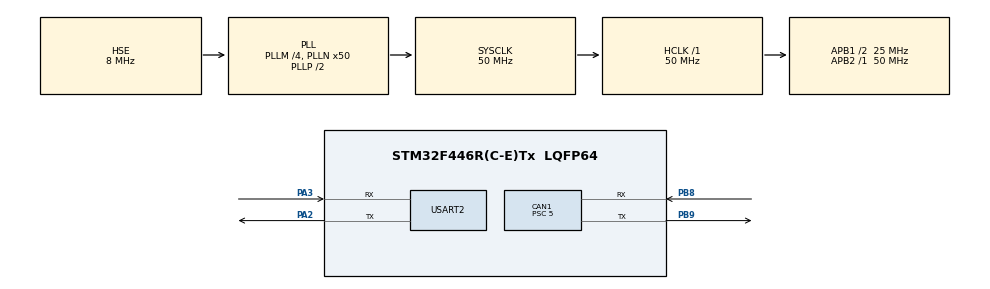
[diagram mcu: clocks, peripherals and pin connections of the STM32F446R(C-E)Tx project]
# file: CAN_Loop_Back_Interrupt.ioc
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CAN1.ABOM=ENABLE
CAN1.BS1=CAN_BS1_8TQ
CAN1.CalculateBaudRate=500000
CAN1.CalculateTimeBit=2000
CAN1.CalculateTimeQuantum=200.0
CAN1.Mode=CAN_MODE_LOOPBACK
CAN1.NART=ENABLE
CAN1.Prescaler=5
Mcu.Family=STM32F4
Mcu.Name=STM32F446R(C-E)Tx
Mcu.Package=LQFP64
NVIC.CAN1_RX0_IRQn=true\:0\:0\:false\:false\:true\:true\:true\:true
NVIC.CAN1_RX1_IRQn=true\:0\:0\:false\:false\:true\:true\:true\:true
NVIC.CAN1_SCE_IRQn=true\:0\:0\:false\:false\:true\:true\:true\:true
NVIC.CAN1_TX_IRQn=true\:0\:0\:false\:false\:true\:true\:true\:true
NVIC.PriorityGroup=NVIC_PRIORITYGROUP_0
PA2.Mode=Asynchronous
PA2.Signal=USART2_TX
PA3.Mode=Asynchronous
PA3.Signal=USART2_RX
PB8.Mode=CAN_Activate
PB8.Signal=CAN1_RX
PB9.Mode=CAN_Activate
PB9.Signal=CAN1_TX
ProjectManager.HeapSize=0x200
ProjectManager.StackSize=0x400
ProjectManager.TargetToolchain=STM32CubeIDE
RCC.AHBFreq_Value=50000000
RCC.APB1CLKDivider=RCC_HCLK_DIV2
RCC.APB1Freq_Value=25000000
RCC.APB1TimFreq_Value=50000000
RCC.APB2Freq_Value=50000000
RCC.APB2TimFreq_Value=50000000
RCC.CortexFreq_Value=50000000
RCC.FLatency-AdvancedSettings=FLASH_LATENCY_1
RCC.HCLKFreq_Value=50000000
RCC.HSE_VALUE=8000000
RCC.HSI_VALUE=16000000
RCC.LSE_VALUE=32768
RCC.PLLM=8
RCC.PLLN=50
RCC.SYSCLKFreq_VALUE=50000000
RCC.SYSCLKSource=RCC_SYSCLKSOURCE_PLLCLK
RCC.USBFreq_Value=50000000
RCC.VCOOutputFreq_Value=100000000
USART2.VirtualMode=VM_ASYNC
board=NUCLEO-F446RE

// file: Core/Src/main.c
/* USER CODE BEGIN Header */
/**
  ******************************************************************************
  * @file           : main.c
  * @brief          : Main program body
  ******************************************************************************
  * @attention
  *
  * Copyright (c) 2024 STMicroelectronics.
  * All rights reserved.
  *
  * This software is licensed under terms that can be found in the LICENSE file
  * in the root directory of this software component.
  * If no LICENSE file comes with this software, it is provided AS-IS.
  *
  ******************************************************************************
  */
/* USER CODE END Header */
#include "main.h"
#include <string.h>
#include <stdio.h>

CAN_HandleTypeDef hcan1;
UART_HandleTypeDef huart2;

void SystemClock_Config(void);
static void MX_GPIO_Init(void);
static void MX_CAN1_Init(void);
static void MX_USART2_UART_Init(void);
void CAN1_TX(void);
void CAN1_RX(void);
void CAN_Filter_Config(void);
/* USER CODE BEGIN PFP */
void HAL_CAN_TxMailbox0CompleteCallback(CAN_HandleTypeDef *hcan);
void HAL_CAN_TxMailbox1CompleteCallback(CAN_HandleTypeDef *hcan);
void HAL_CAN_TxMailbox2CompleteCallback(CAN_HandleTypeDef *hcan);
void HAL_CAN_RxFifo0MsgPendingCallback(CAN_HandleTypeDef *hcan);
void HAL_CAN_ErrorCallback(CAN_HandleTypeDef *hcan);

/* USER CODE END PFP */

int main(void)
{

  /* MCU Configuration--------------------------------------------------------*/

  /* Reset of all peripherals, Initializes the Flash interface and the Systick. */
  HAL_Init();

  /* Configure the system clock */
  SystemClock_Config();

  /* Initialize all configured peripherals */
  MX_GPIO_Init();
  MX_CAN1_Init();
  MX_USART2_UART_Init();
  /* USER CODE BEGIN 2 */
  CAN_Filter_Config();

  //Enable control bit to receive interrupts on the specified events
  if (HAL_CAN_ActivateNotification(&hcan1, CAN_IT_BUSOFF | CAN_IT_RX_FIFO0_MSG_PENDING | CAN_IT_TX_MAILBOX_EMPTY) != HAL_OK) {
	  Error_Handler();
  }

  if (HAL_CAN_Start(&hcan1) != HAL_OK) {
	  Error_Handler();
  }

  CAN1_TX();

  /* USER CODE END 2 */

  /* Infinite loop */
  while (1)
  {

  }
}

void SystemClock_Config(void)
{
  RCC_OscInitTypeDef RCC_OscInitStruct = {0};
  RCC_ClkInitTypeDef RCC_ClkInitStruct = {0};

  /** Configure the main internal regulator output voltage
  */
  __HAL_RCC_PWR_CLK_ENABLE();
  __HAL_PWR_VOLTAGESCALING_CONFIG(PWR_REGULATOR_VOLTAGE_SCALE3);

  /** Initializes the RCC Oscillators according to the specified parameters
  * in the RCC_OscInitTypeDef structure.
  */
  RCC_OscInitStruct.OscillatorType = RCC_OSCILLATORTYPE_HSE;
  RCC_OscInitStruct.HSEState = RCC_HSE_ON;
  RCC_OscInitStruct.PLL.PLLState = RCC_PLL_ON;
  RCC_OscInitStruct.PLL.PLLSource = RCC_PLLSOURCE_HSE;
  RCC_OscInitStruct.PLL.PLLM = 4;
  RCC_OscInitStruct.PLL.PLLN = 50;
  RCC_OscInitStruct.PLL.PLLP = RCC_PLLP_DIV2;
  RCC_OscInitStruct.PLL.PLLQ = 2;
  RCC_OscInitStruct.PLL.PLLR = 2;
  if (HAL_RCC_OscConfig(&RCC_OscInitStruct) != HAL_OK)
  {
    Error_Handler();
  }

  /** Initializes the CPU, AHB and APB buses clocks
  */
  RCC_ClkInitStruct.ClockType = RCC_CLOCKTYPE_HCLK|RCC_CLOCKTYPE_SYSCLK
                              |RCC_CLOCKTYPE_PCLK1|RCC_CLOCKTYPE_PCLK2;
  RCC_ClkInitStruct.SYSCLKSource = RCC_SYSCLKSOURCE_PLLCLK;
  RCC_ClkInitStruct.AHBCLKDivider = RCC_SYSCLK_DIV1;
  RCC_ClkInitStruct.APB1CLKDivider = RCC_HCLK_DIV2;
  RCC_ClkInitStruct.APB2CLKDivider = RCC_HCLK_DIV1;

  if (HAL_RCC_ClockConfig(&RCC_ClkInitStruct, FLASH_LATENCY_1) != HAL_OK)
  {
    Error_Handler();
  }
}

static void MX_CAN1_Init(void)
{

  hcan1.Instance = CAN1;
  hcan1.Init.Prescaler = 5;
  hcan1.Init.Mode = CAN_MODE_LOOPBACK;
  hcan1.Init.SyncJumpWidth = CAN_SJW_1TQ;
  hcan1.Init.TimeSeg1 = CAN_BS1_8TQ;
  hcan1.Init.TimeSeg2 = CAN_BS2_1TQ;
  hcan1.Init.TimeTriggeredMode = DISABLE;
  hcan1.Init.AutoBusOff = ENABLE;
  hcan1.Init.AutoWakeUp = DISABLE;
  hcan1.Init.AutoRetransmission = ENABLE;
  hcan1.Init.ReceiveFifoLocked = DISABLE;
  hcan1.Init.TransmitFifoPriority = DISABLE;
  if (HAL_CAN_Init(&hcan1) != HAL_OK)
  {
    Error_Handler();
  }

}

static void MX_USART2_UART_Init(void)
{

  huart2.Instance = USART2;
  huart2.Init.BaudRate = 115200;
  huart2.Init.WordLength = UART_WORDLENGTH_8B;
  huart2.Init.StopBits = UART_STOPBITS_1;
  huart2.Init.Parity = UART_PARITY_NONE;
  huart2.Init.Mode = UART_MODE_TX_RX;
  huart2.Init.HwFlowCtl = UART_HWCONTROL_NONE;
  huart2.Init.OverSampling = UART_OVERSAMPLING_16;
  if (HAL_UART_Init(&huart2) != HAL_OK)
  {
    Error_Handler();
  }

}

static void MX_GPIO_Init(void)
{

  /* GPIO Ports Clock Enable */
  __HAL_RCC_GPIOA_CLK_ENABLE();
  __HAL_RCC_GPIOB_CLK_ENABLE();

}

/**
  * @brief this function is used to put the message in a mailbox to be transmitted
  * @param None
  * @retval None
  */
void CAN1_TX(void) {
	//The header of the message to be transmitted.
	CAN_TxHeaderTypeDef TxHeader;

	uint8_t can_msg[5] = {'H','E','L','L','O'};

	TxHeader.DLC = 5;
	TxHeader.StdId = 0x111;
	TxHeader.IDE = CAN_ID_STD;
	TxHeader.RTR = CAN_RTR_DATA;

	//this variable will store the number of MailBox chosen to transmit the message
	uint32_t TxMailBox;

	if (HAL_CAN_AddTxMessage(&hcan1, &TxHeader, can_msg, &TxMailBox) != HAL_OK) {
		Error_Handler();
	}

}

void CAN_Filter_Config(void) {
	CAN_FilterTypeDef Can_Filter;

	Can_Filter.FilterActivation = ENABLE;
	Can_Filter.FilterBank = 0;
	Can_Filter.FilterFIFOAssignment = CAN_FILTER_FIFO0;
	Can_Filter.FilterIdHigh = 0x00000000;
	Can_Filter.FilterIdLow = 0x00000000;
	Can_Filter.FilterMaskIdHigh = 0x00000000;
	Can_Filter.FilterMaskIdLow = 0x00000000;
	Can_Filter.FilterMode = CAN_FILTERMODE_IDMASK;
	Can_Filter.FilterScale = CAN_FILTERSCALE_32BIT;

	if (HAL_CAN_ConfigFilter(&hcan1, &Can_Filter) != HAL_OK) {
		Error_Handler();
	}
}

/* USER CODE BEGIN 4 */
void HAL_CAN_TxMailbox0CompleteCallback(CAN_HandleTypeDef *hcan) {
	uint8_t uart_msg0[] = "Message Transmitted:M0\r\n";
	HAL_UART_Transmit(&huart2, uart_msg0, sizeof(uart_msg0), HAL_MAX_DELAY);
}
void HAL_CAN_TxMailbox1CompleteCallback(CAN_HandleTypeDef *hcan) {
	uint8_t uart_msg1[] = "Message Transmitted:M2\r\n";
	HAL_UART_Transmit(&huart2, uart_msg1, sizeof(uart_msg1), HAL_MAX_DELAY);
}
void HAL_CAN_TxMailbox2CompleteCallback(CAN_HandleTypeDef *hcan) {
	uint8_t uart_msg2[] = "Message Transmitted:M2\r\n";
	HAL_UART_Transmit(&huart2, uart_msg2, sizeof(uart_msg2), HAL_MAX_DELAY);
}
/**
  * @brief this function is used to receive the messages existing in the FIFO0
  * @param None
  * @retval None
  */
void HAL_CAN_RxFifo0MsgPendingCallback(CAN_HandleTypeDef *hcan) {
	//handle structure to store The header of the received message.
	CAN_RxHeaderTypeDef RxHeader;
	uint8_t Rcv_msg[5];

	uint8_t uart_msg[] = "Message Received : ";

	if (HAL_CAN_GetRxMessage(&hcan1, CAN_RX_FIFO0, &RxHeader, Rcv_msg) != HAL_OK) {
		Error_Handler();
	}

	HAL_UART_Transmit(&huart2, uart_msg, sizeof(uart_msg), HAL_MAX_DELAY);
	HAL_UART_Transmit(&huart2, Rcv_msg, sizeof(Rcv_msg), HAL_MAX_DELAY);
}
void HAL_CAN_ErrorCallback(CAN_HandleTypeDef *hcan) {
	uint8_t uart_msg3[] = "Error occur while transmission!!\r\n";
	HAL_UART_Transmit(&huart2, uart_msg3, sizeof(uart_msg3), HAL_MAX_DELAY);
}

/* USER CODE END 4 */

void Error_Handler(void)
{
  __disable_irq();
  while (1)
  {
  }
}
